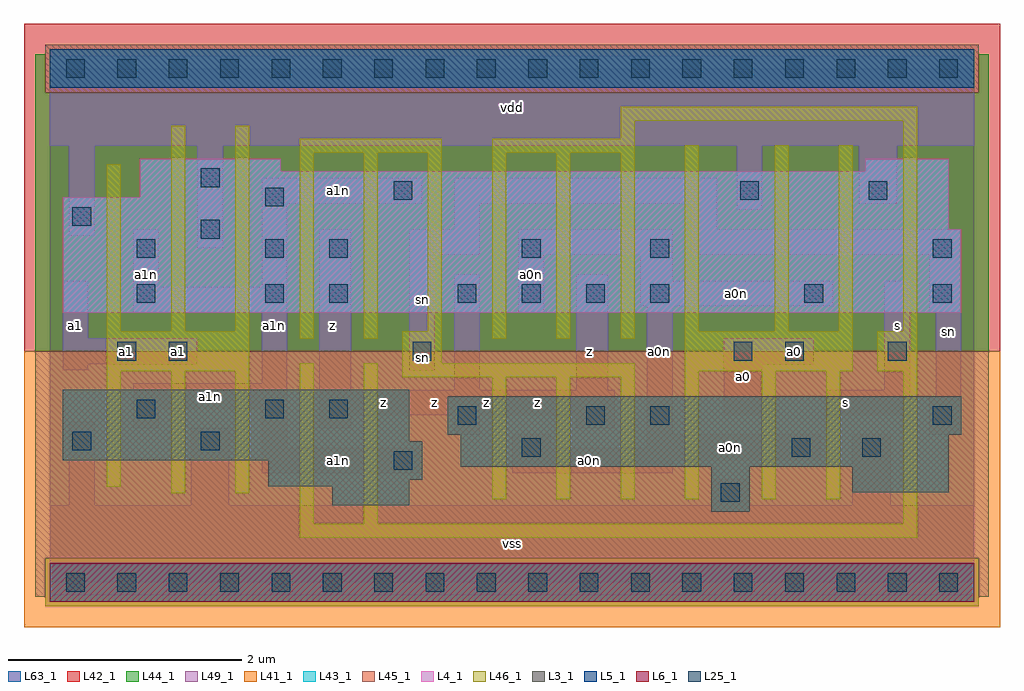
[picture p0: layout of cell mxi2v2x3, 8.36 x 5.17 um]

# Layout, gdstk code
import gdstk
lib = gdstk.Library(unit=1e-6, precision=1e-09)
def R(c, l, rs):  # rectangles x0, y0, x1, y1
    for r in rs: c.add(gdstk.rectangle(r[:2], r[2:], *l))
def A(c, l, x, y, w, h, nx, ny, dx, dy):  # array of equal rectangles
    R(c, l, [(x+i*dx, y+j*dy, x+i*dx+w, y+j*dy+h) for i in range(nx) for j in range(ny)])
L3_1 = (3, 1)
L4_1 = (4, 1)
L5_1 = (5, 1)
L6_1 = (6, 1)
L25_1 = (25, 1)
L41_1 = (41, 1)
L42_1 = (42, 1)
L43_1 = (43, 1)
L44_1 = (44, 1)
L45_1 = (45, 1)
L46_1 = (46, 1)
L49_1 = (49, 1)
L63_1 = (63, 1)

mxi2v2x3 = lib.new_cell('mxi2v2x3')
R(mxi2v2x3, L3_1, [(5.665,0.605,5.995,0.99), (2.42,0.66,3.08,0.825), (6.875,0.77,7.7,0.99), (1.87,0.825,3.08,0.88), (1.87,0.88,3.19,1.045), (3.52,0.99,7.7,1.265), (0.11,1.045,3.19,1.21), (0.11,1.21,3.08,1.65), (3.41,1.265,7.81,1.595)])
R(mxi2v2x3, L4_1, [(0.11,2.31,7.81,3.025), (0.11,3.025,7.7,3.3), (0.77,3.3,7.7,3.52), (0.77,3.52,1.98,3.63), (6.985,3.52,7.7,3.63)])
R(mxi2v2x3, L5_1, [(0,4.235,7.92,4.565)])
R(mxi2v2x3, L6_1, [(0,-0.165,7.92,0.165)])
A(mxi2v2x3, L25_1, 0.14, -0.08, 0.16, 0.16, 18, 2, 0.44, 4.4)
A(mxi2v2x3, L25_1, 3.495, 2.395, 0.16, 0.16, 4, 1, 0.55, 0)
R(mxi2v2x3, L25_1, [(5.75,0.69,5.91,0.85), (2.945,0.965,3.105,1.125), (4.045,1.075,4.205,1.235), (6.355,1.075,6.515,1.235), (6.96,1.075,7.12,1.235), (0.195,1.13,0.355,1.29), (1.295,1.13,1.455,1.29), (3.495,1.35,3.655,1.51), (4.595,1.35,4.755,1.51), (5.145,1.35,5.305,1.51), (7.565,1.35,7.725,1.51), (0.745,1.405,0.905,1.565), (1.845,1.405,2.005,1.565), (2.395,1.405,2.555,1.565), (0.58,1.9,0.74,2.06), (1.02,1.9,1.18,2.06), (3.11,1.9,3.27,2.06), (5.86,1.9,6.02,2.06), (6.3,1.9,6.46,2.06), (7.18,1.9,7.34,2.06), (0.745,2.395,0.905,2.555), (1.845,2.395,2.005,2.555), (2.395,2.395,2.555,2.555), (6.465,2.395,6.625,2.555), (7.565,2.395,7.725,2.555), (0.745,2.78,0.905,2.94), (1.845,2.78,2.005,2.94), (2.395,2.78,2.555,2.94), (4.045,2.78,4.205,2.94), (5.145,2.78,5.305,2.94), (7.565,2.78,7.725,2.94), (1.295,2.945,1.455,3.105), (0.195,3.055,0.355,3.215), (1.845,3.22,2.005,3.38), (2.945,3.275,3.105,3.435), (5.915,3.275,6.075,3.435), (7.015,3.275,7.175,3.435), (1.295,3.385,1.455,3.545)])
R(mxi2v2x3, L41_1, [(-0.22,-0.385,8.14,1.98)])
R(mxi2v2x3, L42_1, [(-0.22,1.98,8.14,4.785)])
R(mxi2v2x3, L43_1, [(0,-0.165,7.92,0.165), (5.665,0.605,5.995,0.99), (2.42,0.66,3.08,0.825), (6.875,0.77,7.7,0.99), (1.87,0.825,3.08,0.88), (1.87,0.88,3.19,1.045), (3.52,0.99,7.7,1.265), (0.11,1.045,3.19,1.21), (0.11,1.21,3.08,1.65), (3.41,1.265,7.81,1.595), (0.11,2.31,7.81,3.025), (0.11,3.025,7.7,3.3), (0.77,3.3,7.7,3.52), (0.77,3.52,1.98,3.63), (6.985,3.52,7.7,3.63), (0,4.235,7.92,4.565)])
R(mxi2v2x3, L44_1, [(-0.04,-0.205,7.96,0.205), (-0.125,1.98,8.045,4.195), (-0.125,4.195,-0.04,4.525), (7.96,4.195,8.045,4.525)])
R(mxi2v2x3, L45_1, [(-0.125,-0.125,-0.04,0.205), (7.96,-0.125,8.045,0.205), (-0.125,0.205,8.045,1.98), (-0.04,4.195,7.96,4.605)])
A(mxi2v2x3, L46_1, 3.79, 0.71, 0.12, 1.045, 3, 1, 0.55, 0)
A(mxi2v2x3, L46_1, 3.79, 2.085, 0.12, 1.595, 3, 1, 0.55, 0)
R(mxi2v2x3, L46_1, [(2.14,0.38,7.43,0.5), (2.14,0.5,2.26,1.875), (2.69,0.5,2.81,1.875), (7.31,0.5,7.43,1.81), (5.44,0.71,5.56,1.81), (6.1,0.71,6.22,1.81), (6.65,0.71,6.77,1.81), (1.04,0.765,1.16,1.81), (1.59,0.765,1.71,1.81), (0.49,0.82,0.61,1.81), (3.02,1.755,5.01,1.875), (0.49,1.81,1.71,2.15), (5.44,1.81,6.88,2.15), (7.09,1.81,7.43,2.15), (3.02,1.875,3.36,2.15), (2.14,2.085,2.26,3.68), (2.69,2.085,2.81,3.68), (0.49,2.15,0.61,3.58), (1.04,2.15,1.16,3.91), (1.59,2.15,1.71,3.91), (3.24,2.15,3.36,3.68), (5.44,2.15,5.56,3.745), (6.21,2.15,6.33,3.745), (6.76,2.15,6.88,3.745), (7.31,2.15,7.43,3.955), (2.14,3.68,3.36,3.8), (3.79,3.68,5.01,3.8), (4.89,3.8,5.01,3.955), (4.89,3.955,7.43,4.075)])
R(mxi2v2x3, L49_1, [(0,-0.11,7.92,0.66), (0.165,0.66,0.385,1.375), (1.21,0.66,1.54,1.32), (5.665,0.66,5.995,0.88), (6.875,0.66,7.205,1.265), (1.815,0.935,3.19,1.155), (3.96,0.935,5.335,1.045), (3.96,1.045,6.6,1.155), (1.815,1.155,2.035,1.485), (3.96,1.155,4.29,1.265), (5.115,1.155,6.6,1.265), (3.465,1.265,3.685,1.43), (5.115,1.265,5.335,2.365), (7.535,1.265,7.81,1.595), (0.715,1.32,0.935,1.485), (2.31,1.32,2.585,1.43), (4.51,1.32,4.84,1.43), (2.31,1.43,4.84,1.65), (5.775,1.43,6.105,1.87), (6.655,1.43,7.37,1.65), (0.715,1.485,2.035,1.705), (7.59,1.595,7.81,2.31), (2.31,1.65,2.585,3.025), (3.465,1.65,3.685,2.64), (4.51,1.65,4.785,2.64), (7.15,1.65,7.37,2.585), (1.815,1.705,2.035,2.31), (0.11,1.815,0.33,1.87), (3.08,1.815,3.3,2.805), (0.11,1.87,1.265,2.09), (5.775,1.87,6.545,2.09), (0.11,2.09,0.33,2.585), (0.715,2.31,2.035,2.53), (4.015,2.31,4.235,2.805), (7.535,2.31,7.81,2.805), (5.06,2.365,6.71,2.585), (0.715,2.53,0.935,3.025), (1.815,2.53,2.035,3.245), (5.06,2.585,5.335,2.805), (3.08,2.805,3.685,3.025), (4.015,2.805,5.335,3.025), (5.5,2.805,7.81,3.025), (1.265,2.86,1.485,3.74), (0.165,2.97,0.385,3.74), (3.465,3.025,3.685,3.245), (5.5,3.025,5.72,3.245), (5.885,3.19,6.105,3.74), (1.815,3.245,3.19,3.465), (3.465,3.245,5.72,3.465), (6.93,3.245,7.26,3.74), (0,3.74,7.92,4.51)])
R(mxi2v2x3, L63_1, [(0,0,7.92,4.4)])
mxi2v2x3.add(gdstk.Label('sn', (3.19,1.925), layer=49, texttype=1))
mxi2v2x3.add(gdstk.Label('a1', (0.22,2.2), layer=49, texttype=1))
mxi2v2x3.add(gdstk.Label('a1', (0.66,1.98), layer=49, texttype=1))
mxi2v2x3.add(gdstk.Label('a1', (1.1,1.98), layer=49, texttype=1))
mxi2v2x3.add(gdstk.Label('a1n', (0.825,2.64), layer=49, texttype=1))
mxi2v2x3.add(gdstk.Label('z', (2.86,1.54), layer=49, texttype=1))
mxi2v2x3.add(gdstk.Label('a1n', (1.375,1.595), layer=49, texttype=1))
mxi2v2x3.add(gdstk.Label('z', (2.42,2.2), layer=49, texttype=1))
mxi2v2x3.add(gdstk.Label('a1n', (1.925,2.2), layer=49, texttype=1))
mxi2v2x3.add(gdstk.Label('vss', (3.96,0.33), layer=49, texttype=1))
mxi2v2x3.add(gdstk.Label('z', (3.3,1.54), layer=49, texttype=1))
mxi2v2x3.add(gdstk.Label('a1n', (2.475,1.045), layer=49, texttype=1))
mxi2v2x3.add(gdstk.Label('z', (4.18,1.54), layer=49, texttype=1))
mxi2v2x3.add(gdstk.Label('z', (3.74,1.54), layer=49, texttype=1))
mxi2v2x3.add(gdstk.Label('z', (4.62,1.98), layer=49, texttype=1))
mxi2v2x3.add(gdstk.Label('a0n', (4.125,2.64), layer=49, texttype=1))
mxi2v2x3.add(gdstk.Label('sn', (3.19,2.42), layer=49, texttype=1))
mxi2v2x3.add(gdstk.Label('a1n', (2.475,3.355), layer=49, texttype=1))
mxi2v2x3.add(gdstk.Label('vdd', (3.96,4.07), layer=49, texttype=1))
mxi2v2x3.add(gdstk.Label('a0n', (4.62,1.045), layer=49, texttype=1))
mxi2v2x3.add(gdstk.Label('a0', (5.94,1.76), layer=49, texttype=1))
mxi2v2x3.add(gdstk.Label('a0n', (5.225,1.98), layer=49, texttype=1))
mxi2v2x3.add(gdstk.Label('a0n', (5.83,1.155), layer=49, texttype=1))
mxi2v2x3.add(gdstk.Label('s', (6.82,1.54), layer=49, texttype=1))
mxi2v2x3.add(gdstk.Label('a0', (6.38,1.98), layer=49, texttype=1))
mxi2v2x3.add(gdstk.Label('a0n', (5.885,2.475), layer=49, texttype=1))
mxi2v2x3.add(gdstk.Label('s', (7.26,2.2), layer=49, texttype=1))
mxi2v2x3.add(gdstk.Label('sn', (7.7,2.145), layer=49, texttype=1))

lib.write_gds('mxi2v2x3.gds')
